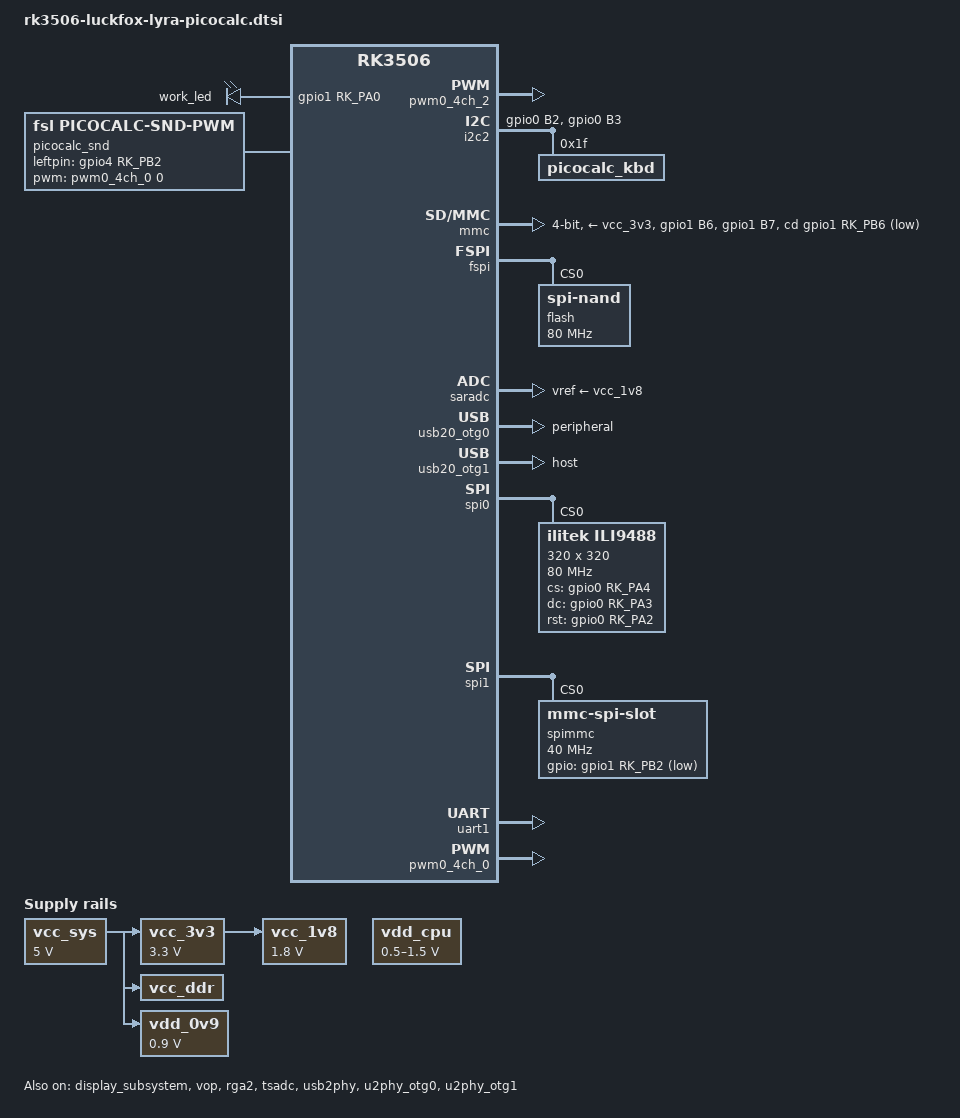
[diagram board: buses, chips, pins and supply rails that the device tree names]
// SPDX-License-Identifier: (GPL-2.0+ OR MIT)
/*
 * Copyright (c) 2024 Rockchip Electronics Co., Ltd.
 */

/dts-v1/;


#include <dt-bindings/pinctrl/rockchip.h>
#include <dt-bindings/display/drm_mipi_dsi.h>
#include <dt-bindings/display/rockchip_vop.h>
#include <dt-bindings/input/rk-input.h>
#include <dt-bindings/sensor-dev.h>
#include <dt-bindings/suspend/rockchip-rk3506.h>
#include "rk3506.dtsi"


/ {
	aliases {
		mmc0 = "/mmc@ff480000";
		mmc1 = "/spi@ff130000/spimmc@0";
	};

	adc_keys: adc-keys {
		compatible = "adc-keys";
		io-channels = <&saradc 1>;
		io-channel-names = "buttons";
		keyup-threshold-microvolt = <1800000>;
		poll-interval = <100>;
	};

	fiq_debugger: fiq-debugger {
		compatible = "rockchip,fiq-debugger";
		rockchip,serial-id = <0>;
		rockchip,wake-irq = <0>;
		rockchip,irq-mode-enable = <1>;
		rockchip,baudrate = <115200>;	/* Only 115200 and 1500000 */
		interrupts = <GIC_SPI 115 IRQ_TYPE_LEVEL_HIGH>;
	};

	leds: leds {
		compatible = "gpio-leds";
		work_led: work-led {
			gpios = <&gpio1 RK_PA0 GPIO_ACTIVE_HIGH>;
			linux,default-trigger = "heartbeat";
		};
	};

	vcc_sys: vcc-sys {
		compatible = "regulator-fixed";
		regulator-name = "vcc_sys";
		regulator-always-on;
		regulator-boot-on;
		regulator-min-microvolt = <5000000>;
		regulator-max-microvolt = <5000000>;
	};

	vcc_3v3: vcc-3v3 {
		compatible = "regulator-fixed";
		regulator-name = "vcc_3v3";
		regulator-always-on;
		regulator-boot-on;
		regulator-min-microvolt = <3300000>;
		regulator-max-microvolt = <3300000>;
		vin-supply = <&vcc_sys>;
	};

	vcc_1v8: vcc-1v8 {
		compatible = "regulator-fixed";
		regulator-name = "vcc_1v8";
		regulator-always-on;
		regulator-boot-on;
		regulator-min-microvolt = <1800000>;
		regulator-max-microvolt = <1800000>;
		vin-supply = <&vcc_3v3>;
	};

	//1.8V
	vcc_ddr: vcc-ddr {
		compatible = "regulator-fixed";
		regulator-name = "vcc_ddr";
		regulator-always-on;
		regulator-boot-on;
		vin-supply = <&vcc_sys>;
	};

	vdd_0v9: vdd-0v9 {
		compatible = "regulator-fixed";
		regulator-name = "vdd_0v9";
		regulator-always-on;
		regulator-boot-on;
		regulator-min-microvolt = <900000>;
		regulator-max-microvolt = <900000>;
		vin-supply = <&vcc_sys>;
	};

	vdd_cpu: vdd-cpu {
		compatible = "regulator-fixed";
		regulator-name = "vdd_cpu";
		regulator-boot-on;
		regulator-always-on;
		regulator-min-microvolt = <500000>;
		regulator-max-microvolt = <1500000>;
		vin-supply = <&vdd_cpu>;
	};
};

/**********cpu**********/
&cpu0 {
	cpu-supply = <&vdd_cpu>;
	status = "okay";
};

/**********display**********/
&cma {
	size = <0x2000000>;
};

&display_subsystem {
	logo-memory-region = <&drm_logo>;
	status = "okay";
};

&vop {
	status = "okay";
};

&rga2 {
	status = "okay";
};

&pwm0_4ch_2 {
	pinctrl-names = "active";
	pinctrl-0 = <&rm_io15_pwm0_ch2>;
	status = "okay";
};

/**********mcu**********/
&i2c2{
	status = "okay";
	pinctrl-names = "default";
	pinctrl-0 = <&rm_io10_i2c2_scl &rm_io11_i2c2_sda>;
	max-frequency = <400000>;

	picocalc_kbd: picocalc_kbd@1f {
		status = "okay";
		compatible = "picocalc_kbd";
		reg = <0x1F>;
	};

};

&pinctrl {
	rm_io11 {
		rm_io11_i2c2_sda: rm-io11-i2c2-sda {
			rockchip,pins =
			<0 RK_PB3 35 &pcfg_pull_none>;
		};
	};

	rm_io10 {
		rm_io10_i2c2_scl: rm-io10-i2c2-scl {
			rockchip,pins =
			<0 RK_PB2 34 &pcfg_pull_none>;
		};
	};
};

/**********media**********/
&mmc {
	/* For SDMMC */
	max-frequency = <52000000>;
	bus-width = <4>;
	no-sdio;
	no-mmc;
	cap-mmc-highspeed;
	cap-sd-highspeed;
	cd-gpios = <&gpio1 RK_PB6 GPIO_ACTIVE_LOW>; //det
	disable-wp;
	//sd-uhs-sdr104;
	pinctrl-names = "default";
	pinctrl-0 = <&sdmmc_clk_pins &sdmmc_cmd_pins &sdmmc_bus4_pins &sdmmc_det &sdmmc_pwren>;
	vqmmc-supply = <&vcc_3v3>;
	vmmc-supply = <&vcc_3v3>;
	status = "okay";
};



&fspi {
	status = "okay";

	flash@0 {
		compatible = "spi-nand";
		reg = <0>;
		spi-max-frequency = <80000000>;
		spi-rx-bus-width = <4>;
		spi-tx-bus-width = <1>;
	};
};

/**********adc**********/
&saradc {
	vref-supply = <&vcc_1v8>;
	status = "okay";
};

&tsadc {
	pinctrl-names = "gpio", "otpout";
	pinctrl-0 = <&wdt_tsadc_gpio>;
	pinctrl-1 = <&rm_io21_wdt_tsadc_shut>;

	status = "okay";
};

/**********usb**********/
&usb20_otg0 {
	dr_mode = "peripheral";
	/* vbus-supply = <&vcc5v0_otg0>;
	 *	rockchip,gpio-vbus-det; */
	status = "okay";
};

&usb20_otg1 {
	dr_mode = "host";
	status = "okay";
};

&usb2phy {
	/* extcon = <&extcon_usb>; */
	status = "okay";
};

&u2phy_otg0 {
	status = "okay";
};

&u2phy_otg1 {
	status = "okay";
};

&spi0 {
	status = "okay";
	pinctrl-names = "default";
	pinctrl-0 = <&rm_io7_spi0_clk &rm_io6_spi0_mosi &rm_io5_spi0_miso>;
	/*
	 * RK_PA7, RK_PA6, RK_PA5
	 *
	 *
	 *    spidev@0 {
	 *        compatible = "rockchip,spidev";
	 *        spi-max-frequency = <24000000>;
	 *        reg = <0>;
};
*/

	ili9488: ili9488@0 {
		status = "okay";
		compatible = "ilitek,ili9488";
		spi-max-frequency = <80000000>;
		/* spi-max-frequency = <24000000>; */
		/* spi-max-frequency = <10000000>; */
		reg = <0>;
		pinctrl-names = "default";
		pinctrl-0 = <&ili9488_pins>;
		fps = <30>;
		width = <320>;
		height = <320>;
		cs = <&gpio0 RK_PA4 GPIO_ACTIVE_HIGH>;
		dc = <&gpio0 RK_PA3 GPIO_ACTIVE_HIGH>;
		rst = <&gpio0 RK_PA2 GPIO_ACTIVE_HIGH>;
	};
};


&spi1 {
	status = "okay";
	pinctrl-names = "default";
	pinctrl-0 = <&rm_io29_spi1_clk &rm_io28_spi1_mosi &rm_io31_spi1_miso &rm_io30_spi1_csn0>;

	spimmc: spimmc@0 {
		status = "okay";
		pinctrl-names = "default";
		pinctrl-0 = <&spimmc_det>;
		compatible = "mmc-spi-slot";
		reg = <0x00>;
		gpios = <&gpio1 RK_PB2 GPIO_ACTIVE_LOW>; // Card Detect
		spi-max-frequency = <0x2625a00>;
		voltage-ranges = <0xce4 0xce4>;
	};
};

&uart1 {
	pinctrl-0 = <&rm_io30_uart1_tx &rm_io28_uart1_rx>;
	status = "okay";
};
/ {
	compatible = "rockchip,rk3506";

	picocalc_snd {
		status = "okay";
		compatible = "fsl,picocalc-snd-pwm";
		pinctrl-names = "default";
		pinctrl-0 = <&snd_pins>;
		leftpin = <&gpio4 RK_PB2 GPIO_ACTIVE_HIGH>;
		pwm-names = "pwm-snd-left";
		pwms = <&pwm0_4ch_0 0 25000 0>;
		/* rightpin = <&gpio4 RK_PB3 GPIO_ACTIVE_HIGH>; */
	};
};

&pwm0_4ch_0 {
	pinctrl-names = "active";
	pinctrl-0 = <&rm_io12_pwm0_ch0>;
	status = "okay";
	assigned-clocks = <&cru CLK_PWM0>;
	assigned-clock-rates = <100000000>;
};

/**********pinctrl**********/
&pinctrl {
	ili9488 {
		ili9488_pins: ili9488-pins {
			rockchip,pins =
			<0 RK_PA4 RK_FUNC_GPIO &pcfg_pull_none>,
			<0 RK_PA3 RK_FUNC_GPIO &pcfg_pull_none>,
			<0 RK_PA2 RK_FUNC_GPIO &pcfg_pull_none>;
		};
	};

	picocalc_snd {
		snd_pins: snd-pins {
			rockchip,pins =
			<4 RK_PB2 RK_FUNC_GPIO &pcfg_pull_none>,
			<4 RK_PB3 RK_FUNC_GPIO &pcfg_pull_none>;
		};
	};

	spimmc {
		spimmc_det: spimmc-det {
			rockchip,pins =
			<1 RK_PB2 RK_FUNC_GPIO &pcfg_pull_none>;
		};
	};

	sdmmc {
		/omit-if-no-ref/
		sdmmc_pwren: sdmmc-pwren {
			rockchip,pins = <1 RK_PB7 RK_FUNC_GPIO &pcfg_pull_down>;
		};

		sdmmc_det: sdmmc-det {
			rockchip,pins = <1 RK_PB6 RK_FUNC_GPIO &pcfg_pull_down>;
		};
	};

	tsadc {
		wdt_tsadc_gpio: wdt-tsadc-gpio {
			rockchip,pins = <0 RK_PC5 RK_FUNC_GPIO &pcfg_pull_none>;
		};
	};
};
